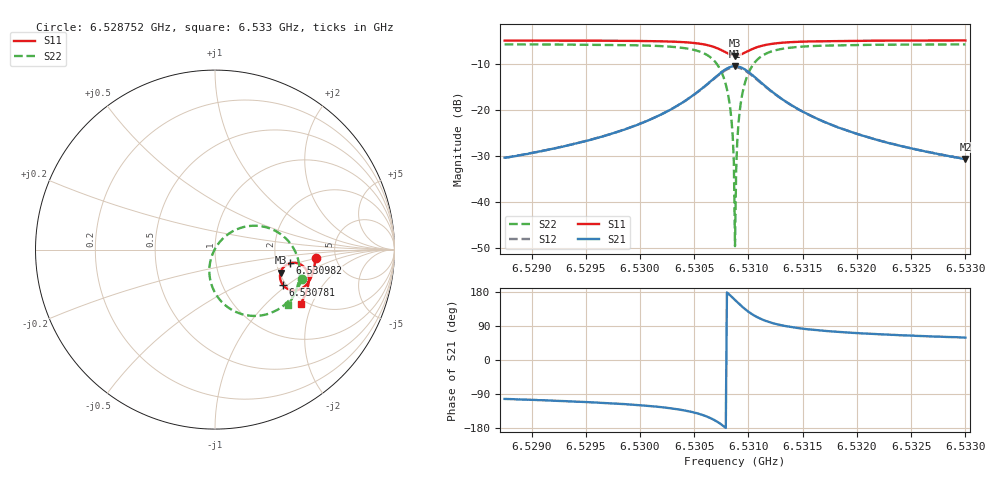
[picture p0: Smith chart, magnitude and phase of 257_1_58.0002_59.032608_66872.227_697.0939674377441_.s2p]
#  HZ  S  RI  R  50.00
! Rohde & Schwarz Vector Network Analyzer
! Rohde-Schwarz,ZNB20-2Port,1311601062101988,3.16
! Created: UTC 3/21/2024, 1:01:48 AM
! freq[Hz]  re:S11  im:S11  re:S21  im:S21  re:S12  im:S12  re:S22  im:S22
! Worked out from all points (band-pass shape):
!   401 points, 6.528752 GHz to 6.533 GHz, reference 50 ohm
!   highest |S21| = -10.54 dB at 6.530876 GHz (marker M1); lowest = -30.6 dB at 6.533 GHz (marker M2)
!   |S21| within 3 dB of the highest: 6.530664 GHz to 6.531089 GHz (425 kHz wide, 0.00651 % of centre)
!   lowest |S11| = -8.2 dB at 6.530876 GHz (marker M3), VSWR 2.26, Z = 101 - j30.6 ohm
!   |S11| at or under -10 dB: nowhere
!   |S22| runs from -49.5 to -5.8 dB; largest |S21 - S12| = 0.012
!   S11 on the Smith chart (normalised r, x): 6.528752 GHz: 3.50, -0.48; 6.530781 GHz: 1.92, -0.92; 6.530982 GHz: 2.38, -0.44; 6.533 GHz: 1.88, -1.65
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6.528752e9  0.5602 -0.0467  -0.0067 -0.0296  -0.0072 -0.0293  0.4836 -0.1655
6.5294636e9  0.5511 -0.1057  -0.0157 -0.0421  -0.0167 -0.0417  0.4532 -0.2295
6.5301752e9  0.5242 -0.1758  -0.0482 -0.0721  -0.0502 -0.0707  0.3735 -0.319
6.5306001e9  0.4557 -0.2262  -0.1529 -0.0975  -0.1551 -0.0913  0.1727 -0.3651
6.5307063e9  0.4118 -0.2221  -0.2205 -0.0722  -0.2199 -0.063  0.0589 -0.3112
6.5307807e9  0.3775 -0.196  -0.2705 -0.0155  -0.2649 -0.00583  -0.0153 -0.2071
6.5308125e9  0.3669 -0.1765  -0.2836 0.0219  -0.2759 0.0305  -0.0305 -0.1427
6.5308338e9  0.363 -0.1613  -0.2868 0.0502  -0.2779 0.0576  -0.0307 -0.0954
6.5308444e9  0.3622 -0.1531  -0.2866 0.0648  -0.2771 0.0714  -0.0273 -0.0715
6.530855e9  0.3622 -0.145  -0.2847 0.0798  -0.2748 0.0854  -0.0214 -0.0476
6.5308656e9  0.3633 -0.1367  -0.2815 0.0946  -0.2711 0.0992  -0.0134 -0.024
6.5308762e9  0.3651 -0.1286  -0.2766 0.1089  -0.2662 0.1126  -0.00302 -0.00142
6.5308869e9  0.3679 -0.1207  -0.2705 0.1229  -0.2599 0.1256  0.00962 0.0199
6.5308975e9  0.3713 -0.1133  -0.2628 0.1359  -0.2525 0.1377  0.0243 0.0401
6.5309081e9  0.3757 -0.1062  -0.2542 0.1482  -0.2441 0.1491  0.0407 0.0583
6.5309294e9  0.3862 -0.094  -0.2339 0.1694  -0.2245 0.1688  0.0775 0.0891
6.5309825e9  0.4182 -0.0759  -0.1754 0.2005  -0.1688 0.1978  0.1794 0.1299
6.5310568e9  0.4599 -0.0759  -0.1024 0.2029  -0.0989 0.1999  0.3019 0.1192
6.531163e9  0.4965 -0.0975  -0.0395 0.173  -0.0377 0.1713  0.4031 0.0536
6.5315879e9  0.5224 -0.1763  0.0149 0.0835  0.016 0.0834  0.4718 -0.1339
6.5322995e9  0.5038 -0.2483  0.0173 0.0401  0.0179 0.0398  0.4427 -0.2481
6.5330005e9  0.4773 -0.3005  0.0151 0.0251  0.0157 0.0249  0.407 -0.3084
